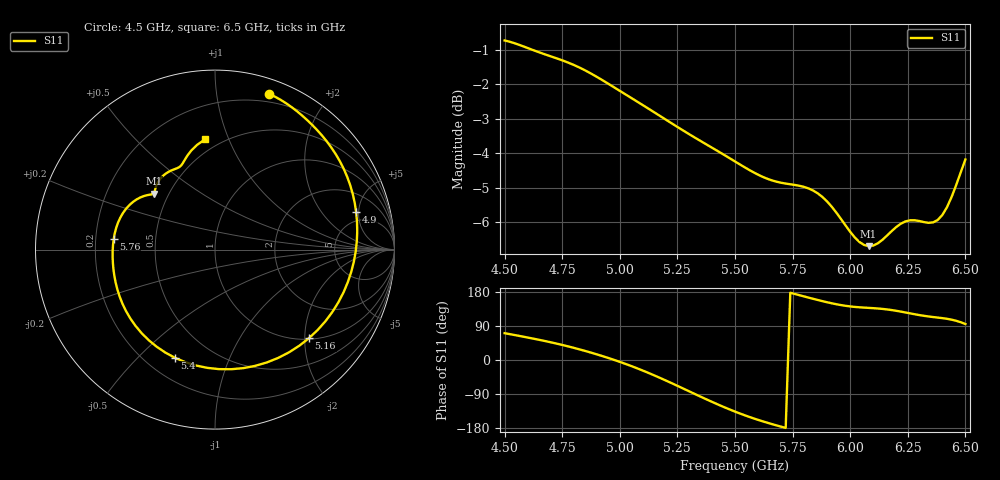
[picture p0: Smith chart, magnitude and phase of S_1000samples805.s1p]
! TOUCHSTONE file generated by CST MICROWAVE STUDIO
! Date and time: Sat Oct 29 11:03:16 2022
! Project name: L.cst
! Parameters = {Di=1.27; Epsilon_r=1.56; InnerDiameter=1.27; Length=2; Lf=10; Lg=60; OuterConductorThickness=0.2921; OuterDiameter=3.6; Wf=3; Wp=41.2; de=1.5; df=6.8; g=0.8; gx=4.17117; gy=0.47815; h=2.34; hf=1.524; px=11.9415; py=10.1204; w=9.7; wx=7.7703; wy=9.64224}
! Header version: 2018
! Port assignment regex: !\s*Touchstone port\s*([0-9]+)\s*=\s*(CST MWS port|CST DS port)\s*([0-9]+|Zmin|Zmax)\s*\(\"(.*)\"\)(\s*mode\s*([0-9]+))?.*
! Touchstone port assignment:
! Touchstone port 1 = CST MWS port 1 ("")
# GHz S DB R 50
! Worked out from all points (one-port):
!   101 points, 4.5 GHz to 6.5 GHz, reference 50 ohm
!   lowest |S11| = -6.7 dB at 6.08 GHz (marker M1), VSWR 2.72, Z = 20.7 + j16.5 ohm
!   |S11| at or under -10 dB: nowhere
!   S11 on the Smith chart (normalised r, x): 4.5 GHz: 0.13, +1.40; 4.9 GHz: 3.77, +4.68; 5.16 GHz: 1.02, -2.09; 5.4 GHz: 0.32, -0.65; 5.76 GHz: 0.28, +0.05; 6.5 GHz: 0.42, +0.83
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4.5  -0.74 70.8
4.64  -1.06 54.5
4.76  -1.34 38.3
4.84  -1.57 25.5
4.9  -1.79 14.9
4.96  -2.03 3.4
5  -2.20 -4.9
5.08  -2.53 -23.1
5.16  -2.86 -43.4
5.22  -3.11 -59.7
5.26  -3.28 -71.0
5.32  -3.53 -88.0
5.36  -3.68 -99.3
5.4  -3.84 -110.4
5.46  -4.08 -126.3
5.5  -4.24 -136.1
5.56  -4.48 -149.7
5.62  -4.69 -161.8
5.76  -4.92 174.2
5.82  -5.02 164.5
5.9  -5.40 152.3
6  -6.28 141.4
6.08  -6.69 137.5
6.18  -6.26 131.8
6.26  -5.94 123.0
6.4  -5.79 110.5
6.46  -4.92 103.5
6.5  -4.18 94.9
